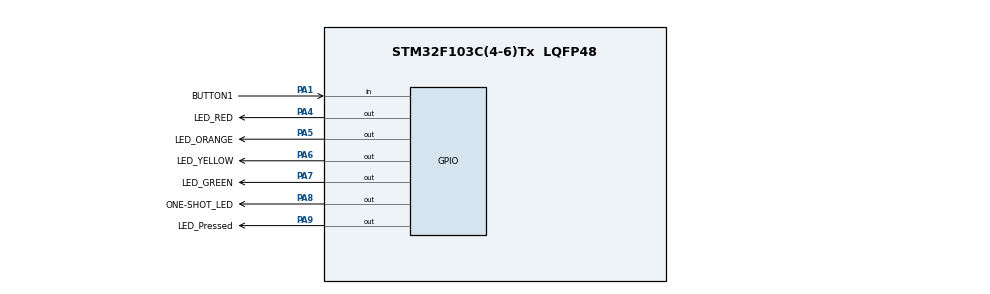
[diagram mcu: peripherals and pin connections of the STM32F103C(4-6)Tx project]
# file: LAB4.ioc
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Mcu.Family=STM32F1
Mcu.Name=STM32F103C(4-6)Tx
Mcu.Package=LQFP48
NVIC.PriorityGroup=NVIC_PRIORITYGROUP_4
NVIC.TIM2_IRQn=true\:0\:0\:false\:false\:true\:true\:true\:true
PA1.GPIO_Label=BUTTON1
PA1.Signal=GPIO_Input
PA2.Signal=USART2_TX
PA3.Signal=USART2_RX
PA4.GPIO_Label=LED_RED
PA4.Signal=GPIO_Output
PA5.GPIO_Label=LED_ORANGE
PA5.Signal=GPIO_Output
PA6.GPIO_Label=LED_YELLOW
PA6.Signal=GPIO_Output
PA7.GPIO_Label=LED_GREEN
PA7.Signal=GPIO_Output
PA8.GPIO_Label=ONE-SHOT_LED
PA8.Signal=GPIO_Output
PA9.GPIO_Label=LED_Pressed
PA9.Signal=GPIO_Output
ProjectManager.HeapSize=0x200
ProjectManager.StackSize=0x400
ProjectManager.TargetToolchain=STM32CubeIDE
RCC.APB1Freq_Value=8000000
RCC.APB2Freq_Value=8000000
TIM2.Period=9
TIM2.Prescaler=7999
VP_SYS_VS_ND.Mode=No_Debug
VP_TIM2_VS_ClockSourceINT.Mode=Internal
board=custom

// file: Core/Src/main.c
/* USER CODE BEGIN Header */
/**
  ******************************************************************************
  * @file           : main.c
  * @brief          : Main program body
  ******************************************************************************
  * @attention
  *
  * Copyright (c) 2023 STMicroelectronics.
  * All rights reserved.
  *
  * This software is licensed under terms that can be found in the LICENSE file
  * in the root directory of this software component.
  * If no LICENSE file comes with this software, it is provided AS-IS.
  *
  ******************************************************************************
  */
/* USER CODE END Header */
#include "main.h"

/* USER CODE BEGIN Includes */
#include "scheduler.h"
#include "global.h"
#include "button.h"
#include "display_LED.h"
/* USER CODE END Includes */

TIM_HandleTypeDef htim2;

void SystemClock_Config(void);
static void MX_GPIO_Init(void);
static void MX_TIM2_Init(void);

int main(void)
{

  /* MCU Configuration--------------------------------------------------------*/

  /* Reset of all peripherals, Initializes the Flash interface and the Systick. */
  HAL_Init();

  /* Configure the system clock */
  SystemClock_Config();

  /* Initialize all configured peripherals */
  MX_GPIO_Init();
  MX_TIM2_Init();
  /* USER CODE BEGIN 2 */
  HAL_TIM_Base_Start_IT(&htim2);
  /* USER CODE END 2 */

  /* Infinite loop */
  /* USER CODE BEGIN WHILE */
  SCH_Add_Task(ToggleRed, 1000, 500);
  SCH_Add_Task(ToggleOrange, 1000, 1000);
  SCH_Add_Task(ToggleYellow, 5000, 1500);
  SCH_Add_Task(ToggleGreen, 2000, 2000);
  SCH_Add_Task(ToggleOne_shot, 2500, 0);
  SCH_Add_Task(getKeyInput, 0, 10);
  SCH_Add_Task(ToggleWhenButtonPressed, 0, 10);
  while (1)
  {
    /* USER CODE END WHILE */

    /* USER CODE BEGIN 3 */
	  SCH_Dispatch_Tasks();
  }
  /* USER CODE END 3 */
}

void SystemClock_Config(void)
{
  RCC_OscInitTypeDef RCC_OscInitStruct = {0};
  RCC_ClkInitTypeDef RCC_ClkInitStruct = {0};

  /** Initializes the RCC Oscillators according to the specified parameters
  * in the RCC_OscInitTypeDef structure.
  */
  RCC_OscInitStruct.OscillatorType = RCC_OSCILLATORTYPE_HSI;
  RCC_OscInitStruct.HSIState = RCC_HSI_ON;
  RCC_OscInitStruct.HSICalibrationValue = RCC_HSICALIBRATION_DEFAULT;
  RCC_OscInitStruct.PLL.PLLState = RCC_PLL_NONE;
  if (HAL_RCC_OscConfig(&RCC_OscInitStruct) != HAL_OK)
  {
    Error_Handler();
  }

  /** Initializes the CPU, AHB and APB buses clocks
  */
  RCC_ClkInitStruct.ClockType = RCC_CLOCKTYPE_HCLK|RCC_CLOCKTYPE_SYSCLK
                              |RCC_CLOCKTYPE_PCLK1|RCC_CLOCKTYPE_PCLK2;
  RCC_ClkInitStruct.SYSCLKSource = RCC_SYSCLKSOURCE_HSI;
  RCC_ClkInitStruct.AHBCLKDivider = RCC_SYSCLK_DIV1;
  RCC_ClkInitStruct.APB1CLKDivider = RCC_HCLK_DIV1;
  RCC_ClkInitStruct.APB2CLKDivider = RCC_HCLK_DIV1;

  if (HAL_RCC_ClockConfig(&RCC_ClkInitStruct, FLASH_LATENCY_0) != HAL_OK)
  {
    Error_Handler();
  }
}

static void MX_TIM2_Init(void)
{

  TIM_ClockConfigTypeDef sClockSourceConfig = {0};
  TIM_MasterConfigTypeDef sMasterConfig = {0};

  htim2.Instance = TIM2;
  htim2.Init.Prescaler = 7999;
  htim2.Init.CounterMode = TIM_COUNTERMODE_UP;
  htim2.Init.Period = 9;
  htim2.Init.ClockDivision = TIM_CLOCKDIVISION_DIV1;
  htim2.Init.AutoReloadPreload = TIM_AUTORELOAD_PRELOAD_DISABLE;
  if (HAL_TIM_Base_Init(&htim2) != HAL_OK)
  {
    Error_Handler();
  }
  sClockSourceConfig.ClockSource = TIM_CLOCKSOURCE_INTERNAL;
  if (HAL_TIM_ConfigClockSource(&htim2, &sClockSourceConfig) != HAL_OK)
  {
    Error_Handler();
  }
  sMasterConfig.MasterOutputTrigger = TIM_TRGO_RESET;
  sMasterConfig.MasterSlaveMode = TIM_MASTERSLAVEMODE_DISABLE;
  if (HAL_TIMEx_MasterConfigSynchronization(&htim2, &sMasterConfig) != HAL_OK)
  {
    Error_Handler();
  }

}

static void MX_GPIO_Init(void)
{
  GPIO_InitTypeDef GPIO_InitStruct = {0};

  /* GPIO Ports Clock Enable */
  __HAL_RCC_GPIOA_CLK_ENABLE();

  /*Configure GPIO pin Output Level */
  HAL_GPIO_WritePin(GPIOA, LED_RED_Pin|LED_ORANGE_Pin|LED_YELLOW_Pin|LED_GREEN_Pin
                          |ONE_SHOT_LED_Pin|LED_Pressed_Pin, GPIO_PIN_RESET);

  /*Configure GPIO pin : BUTTON1_Pin */
  GPIO_InitStruct.Pin = BUTTON1_Pin;
  GPIO_InitStruct.Mode = GPIO_MODE_INPUT;
  GPIO_InitStruct.Pull = GPIO_NOPULL;
  HAL_GPIO_Init(BUTTON1_GPIO_Port, &GPIO_InitStruct);

  /*Configure GPIO pin : PA2 */
  GPIO_InitStruct.Pin = GPIO_PIN_2;
  GPIO_InitStruct.Mode = GPIO_MODE_AF_PP;
  GPIO_InitStruct.Speed = GPIO_SPEED_FREQ_HIGH;
  HAL_GPIO_Init(GPIOA, &GPIO_InitStruct);

  /*Configure GPIO pin : PA3 */
  GPIO_InitStruct.Pin = GPIO_PIN_3;
  GPIO_InitStruct.Mode = GPIO_MODE_INPUT;
  GPIO_InitStruct.Pull = GPIO_NOPULL;
  HAL_GPIO_Init(GPIOA, &GPIO_InitStruct);

  /*Configure GPIO pins : LED_RED_Pin LED_ORANGE_Pin LED_YELLOW_Pin LED_GREEN_Pin
                           ONE_SHOT_LED_Pin LED_Pressed_Pin */
  GPIO_InitStruct.Pin = LED_RED_Pin|LED_ORANGE_Pin|LED_YELLOW_Pin|LED_GREEN_Pin
                          |ONE_SHOT_LED_Pin|LED_Pressed_Pin;
  GPIO_InitStruct.Mode = GPIO_MODE_OUTPUT_PP;
  GPIO_InitStruct.Pull = GPIO_NOPULL;
  GPIO_InitStruct.Speed = GPIO_SPEED_FREQ_LOW;
  HAL_GPIO_Init(GPIOA, &GPIO_InitStruct);

}

/* USER CODE BEGIN 4 */
void HAL_TIM_PeriodElapsedCallback(TIM_HandleTypeDef *htim) {
	SCH_Update();
}
/* USER CODE END 4 */

void Error_Handler(void)
{
  __disable_irq();
  while (1)
  {
  }
}
